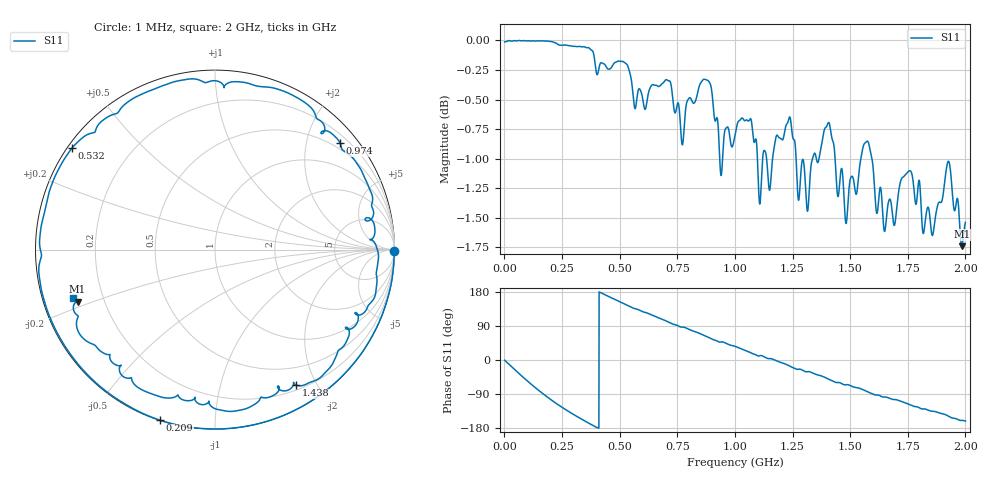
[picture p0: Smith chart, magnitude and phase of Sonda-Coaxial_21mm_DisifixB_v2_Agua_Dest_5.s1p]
! TOUCHSTONE file generated by CST MICROWAVE STUDIO
! Date and time: Sun Aug  2 11:33:45 2026
! Project name: Sonda-Coaxial_21mm_DisifixB_v2_Agua_Dest.cst
! Parameters = {h_recipiente=20; l_conector=50; r_arandela=35; r_ext=10.5; r_int=3; r_recipiente=100; z_recipiente=-100}
! Header version: 2018
! Port assignment regex: !\s*Touchstone port\s*([0-9]+)\s*=\s*(CST MWS port|CST DS port)\s*([0-9]+|Zmin|Zmax)\s*\(\"(.*)\"\)(\s*mode\s*([0-9]+))?.*
! Touchstone port assignment:
! Touchstone port 1 = CST MWS port 1 ("")
# GHz S RI R 50
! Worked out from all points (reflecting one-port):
!   2000 points, 1 MHz to 2 GHz, reference 50 ohm
!   lowest |S11| = -1.7 dB at 1.984 GHz (marker M1), VSWR 10.02, Z = 5.16 - j9.06 ohm
!   phase of S11 starts at -1 deg and turns -521 deg over the sweep
!   S11 on the Smith chart (normalised r, x): 1 MHz: open; 209 MHz: 0.00, -0.73; 532 MHz: 0.01, +0.32; 974 MHz: 0.36, +2.67; 1.438 GHz: 0.26, -1.74; 2 GHz: 0.09, -0.16
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0.001  0.9986 -0.00987
0.051  0.8755 -0.4822
0.11  0.4893 -0.8716
0.158  0.0945 -0.995
0.209  -0.3055 -0.9508
0.251  -0.5728 -0.814
0.308  -0.8301 -0.5473
0.367  -0.9675 -0.2227
0.429  -0.9725 0.1006
0.501  -0.8775 0.4362
0.532  -0.7951 0.5674
0.656  -0.3962 0.8715
0.751  -0.0169 0.9401
0.858  0.372 0.8865
0.901  0.5464 0.7767
0.974  0.6961 0.5954
1.001  0.738 0.5362
1.072  0.8782 0.2875
1.166  0.895 0.0273
1.251  0.8564 -0.3073
1.383  0.6579 -0.6311
1.438  0.4524 -0.7548
1.501  0.333 -0.8081
1.579  0.0831 -0.9017
1.751  -0.384 -0.7917
1.931  -0.7658 -0.4473
1.984  -0.7654 -0.2899
2  -0.7925 -0.271
